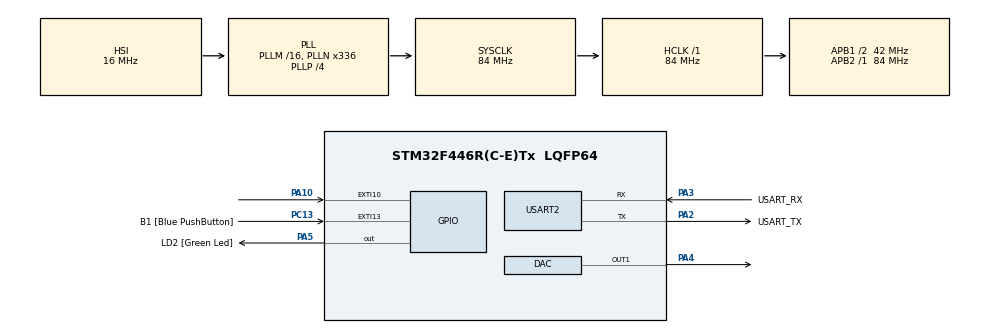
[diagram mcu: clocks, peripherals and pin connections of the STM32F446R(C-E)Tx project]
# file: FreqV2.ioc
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Mcu.Family=STM32F4
Mcu.Name=STM32F446R(C-E)Tx
Mcu.Package=LQFP64
NVIC.EXTI15_10_IRQn=true\:0\:0\:false\:false\:true\:true\:true
NVIC.PriorityGroup=NVIC_PRIORITYGROUP_0
NVIC.USART2_IRQn=true\:0\:0\:false\:false\:true\:true\:true
PA10.GPIO_ModeDefaultEXTI=GPIO_MODE_IT_FALLING
PA10.Signal=GPXTI10
PA13.GPIO_Label=TMS
PA13.Mode=Serial_Wire
PA13.Signal=SYS_JTMS-SWDIO
PA14.GPIO_Label=TCK
PA14.Mode=Serial_Wire
PA14.Signal=SYS_JTCK-SWCLK
PA2.GPIO_Label=USART_TX
PA2.Mode=Asynchronous
PA2.Signal=USART2_TX
PA3.GPIO_Label=USART_RX
PA3.Mode=Asynchronous
PA3.Signal=USART2_RX
PA4.Signal=COMP_DAC1_group
PA5.GPIO_Label=LD2 [Green Led]
PA5.Signal=GPIO_Output
PB3.GPIO_Label=SWO
PB3.Signal=SYS_JTDO-SWO
PC13.GPIO_Label=B1 [Blue PushButton]
PC13.GPIO_ModeDefaultEXTI=GPIO_MODE_IT_FALLING
PC13.Signal=GPXTI13
PC14-OSC32_IN.Mode=LSE-External-Oscillator
PC14-OSC32_IN.Signal=RCC_OSC32_IN
PC15-OSC32_OUT.Mode=LSE-External-Oscillator
PC15-OSC32_OUT.Signal=RCC_OSC32_OUT
PH0-OSC_IN.Mode=HSE-External-Oscillator
PH0-OSC_IN.Signal=RCC_OSC_IN
PH1-OSC_OUT.Mode=HSE-External-Oscillator
PH1-OSC_OUT.Signal=RCC_OSC_OUT
ProjectManager.HeapSize=0x200
ProjectManager.StackSize=0x400
ProjectManager.TargetToolchain=STM32CubeIDE
RCC.48MHZClocksFreq_Value=84000000
RCC.AHBFreq_Value=84000000
RCC.APB1CLKDivider=RCC_HCLK_DIV2
RCC.APB1Freq_Value=42000000
RCC.APB1TimFreq_Value=84000000
RCC.APB2Freq_Value=84000000
RCC.APB2TimFreq_Value=84000000
RCC.CortexFreq_Value=84000000
RCC.FLatency-AdvancedSettings=FLASH_LATENCY_2
RCC.HCLKFreq_Value=84000000
RCC.HSE_VALUE=8000000
RCC.HSI_VALUE=16000000
RCC.PLLN=336
RCC.PLLP=RCC_PLLP_DIV4
RCC.SYSCLKFreq_VALUE=84000000
RCC.SYSCLKSource=RCC_SYSCLKSOURCE_PLLCLK
RCC.USBFreq_Value=168000000
RCC.VCOOutputFreq_Value=336000000
SH.COMP_DAC1_group.0=DAC_OUT1,DAC_OUT1
USART2.VirtualMode=VM_ASYNC
board=NUCLEO-F446RE

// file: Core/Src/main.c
/* USER CODE BEGIN Header */
/**
  ******************************************************************************
  * @file           : main.c
  * @brief          : Main program body
  ******************************************************************************
  * @attention
  *
  * <h2><center>&copy; Copyright (c) 2020 STMicroelectronics.
  * All rights reserved.</center></h2>
  *
  * This software component is licensed by ST under BSD 3-Clause license,
  * the "License"; You may not use this file except in compliance with the
  * License. You may obtain a copy of the License at:
  *                        opensource.org/licenses/BSD-3-Clause
  *
  ******************************************************************************
  */
/* USER CODE END Header */

#include "main.h"

/* USER CODE BEGIN Includes */
#include "arm_math.h"
#include "arm_common_tables.h"

/* USER CODE END Includes */

/* USER CODE BEGIN PD */
#define Ts 1/20000
/* USER CODE END PD */

DAC_HandleTypeDef hdac;

UART_HandleTypeDef huart2;

/* USER CODE BEGIN PV */
uint8_t START_FRAME = 0xAA;
float32_t PI_2 = 2 * PI;
uint32_t freq = 2000;
uint32_t calcFreq = 0;
uint32_t fallCntr = 0;
float32_t phase = 0;

uint8_t rxBuffer[4];
uint8_t *p = rxBuffer;
uint8_t count = 0;

uint16_t sendFreq;
 uint8_t txBuff[3];
 uint8_t* tx = txBuff;

TIM_HandleTypeDef tim;
TIM_HandleTypeDef dac_tim;
/* USER CODE END PV */

void SystemClock_Config(void);
static void MX_GPIO_Init(void);
static void MX_USART2_UART_Init(void);
static void MX_DAC_Init(void);
/* USER CODE BEGIN PFP */
static void TimerInit(void);
static void DAC_Tim(void);
uint8_t gencrc(uint8_t *data, size_t len);
/* USER CODE END PFP */

/* USER CODE BEGIN 0 */
void HAL_UART_RxCpltCallback(UART_HandleTypeDef *huart){
	if(huart->Instance == USART2){
		if(rxBuffer[count++] == START_FRAME){
			rxBuffer[0] = START_FRAME;
			count = 1;
		}
		if(count > 3){
			count = 0;
			if(rxBuffer[3] == gencrc(p, 3)){
				uint16_t f = 0;
				f |= rxBuffer[1];
				f |= rxBuffer[2] << 8;
				if(f > 9999){
					f = 9999;
				}
				freq = f;
				tim.Instance->CNT = 0;
				fallCntr = 0;
			}
		}
		HAL_UART_Receive_IT(&huart2, (p+count), 1);
	}
}
/* USER CODE END 0 */

int main(void)
{

  /* MCU Configuration--------------------------------------------------------*/

  /* Reset of all peripherals, Initializes the Flash interface and the Systick. */
  HAL_Init();

  /* Configure the system clock */
  SystemClock_Config();

  /* Initialize all configured peripherals */
  MX_GPIO_Init();
  MX_USART2_UART_Init();
  MX_DAC_Init();
  /* USER CODE BEGIN 2 */
  DAC_Tim();
  TimerInit();
  HAL_DAC_Start(&hdac, DAC_CHANNEL_1);
  /* USER CODE END 2 */

  /* Infinite loop */
  /* USER CODE BEGIN WHILE */

  while (1)
  {
	sendFreq = calcFreq; // local copy
	if(sendFreq > 9999){
		sendFreq = 9999;
	}
	// SEG 1
	uint8_t thouse = sendFreq / 1000;
	txBuff[0] = START_FRAME;
	txBuff[1] = thouse | 0x80;
	txBuff[2] = gencrc(tx, 2);
	HAL_UART_Transmit(&huart2, tx, 3, 1000);
	// SEG 2
	sendFreq -= thouse * 1000;
	uint8_t hundr = sendFreq / 100;
	txBuff[1] = hundr | 0x40;
	txBuff[2] = gencrc(tx, 2);
	HAL_UART_Transmit(&huart2, tx, 3, 1000);
	sendFreq -= hundr * 100;
	// SEG 3
	uint8_t ten = sendFreq / 10;
	txBuff[1] = ten | 0x20;
	txBuff[2] = gencrc(tx, 2);
	HAL_UART_Transmit(&huart2, tx, 3, 1000);
	sendFreq -= ten * 10;
	// SEG 4
	txBuff[1] = sendFreq | 0x10;
	txBuff[2] = gencrc(tx, 2);
	HAL_UART_Transmit(&huart2, tx, 3, 1000);
    /* USER CODE END WHILE */

  }
}

void SystemClock_Config(void)
{
  RCC_OscInitTypeDef RCC_OscInitStruct = {0};
  RCC_ClkInitTypeDef RCC_ClkInitStruct = {0};

  /** Configure the main internal regulator output voltage
  */
  __HAL_RCC_PWR_CLK_ENABLE();
  __HAL_PWR_VOLTAGESCALING_CONFIG(PWR_REGULATOR_VOLTAGE_SCALE3);
  /** Initializes the CPU, AHB and APB busses clocks
  */
  RCC_OscInitStruct.OscillatorType = RCC_OSCILLATORTYPE_HSI;
  RCC_OscInitStruct.HSIState = RCC_HSI_ON;
  RCC_OscInitStruct.HSICalibrationValue = RCC_HSICALIBRATION_DEFAULT;
  RCC_OscInitStruct.PLL.PLLState = RCC_PLL_ON;
  RCC_OscInitStruct.PLL.PLLSource = RCC_PLLSOURCE_HSI;
  RCC_OscInitStruct.PLL.PLLM = 16;
  RCC_OscInitStruct.PLL.PLLN = 336;
  RCC_OscInitStruct.PLL.PLLP = RCC_PLLP_DIV4;
  RCC_OscInitStruct.PLL.PLLQ = 2;
  RCC_OscInitStruct.PLL.PLLR = 2;
  if (HAL_RCC_OscConfig(&RCC_OscInitStruct) != HAL_OK)
  {
    Error_Handler();
  }
  /** Initializes the CPU, AHB and APB busses clocks
  */
  RCC_ClkInitStruct.ClockType = RCC_CLOCKTYPE_HCLK|RCC_CLOCKTYPE_SYSCLK
                              |RCC_CLOCKTYPE_PCLK1|RCC_CLOCKTYPE_PCLK2;
  RCC_ClkInitStruct.SYSCLKSource = RCC_SYSCLKSOURCE_PLLCLK;
  RCC_ClkInitStruct.AHBCLKDivider = RCC_SYSCLK_DIV1;
  RCC_ClkInitStruct.APB1CLKDivider = RCC_HCLK_DIV2;
  RCC_ClkInitStruct.APB2CLKDivider = RCC_HCLK_DIV1;

  if (HAL_RCC_ClockConfig(&RCC_ClkInitStruct, FLASH_LATENCY_2) != HAL_OK)
  {
    Error_Handler();
  }
}

static void MX_DAC_Init(void)
{

  DAC_ChannelConfTypeDef sConfig = {0};

  /** DAC Initialization
  */
  hdac.Instance = DAC;
  if (HAL_DAC_Init(&hdac) != HAL_OK)
  {
    Error_Handler();
  }
  /** DAC channel OUT1 config
  */
  sConfig.DAC_Trigger = DAC_TRIGGER_NONE;
  sConfig.DAC_OutputBuffer = DAC_OUTPUTBUFFER_ENABLE;
  if (HAL_DAC_ConfigChannel(&hdac, &sConfig, DAC_CHANNEL_1) != HAL_OK)
  {
    Error_Handler();
  }

}

static void MX_USART2_UART_Init(void)
{

  huart2.Instance = USART2;
  huart2.Init.BaudRate = 115200;
  huart2.Init.WordLength = UART_WORDLENGTH_8B;
  huart2.Init.StopBits = UART_STOPBITS_1;
  huart2.Init.Parity = UART_PARITY_NONE;
  huart2.Init.Mode = UART_MODE_TX_RX;
  huart2.Init.HwFlowCtl = UART_HWCONTROL_NONE;
  huart2.Init.OverSampling = UART_OVERSAMPLING_16;
  if (HAL_UART_Init(&huart2) != HAL_OK)
  {
    Error_Handler();
  }
  /* USER CODE BEGIN USART2_Init 2 */

  HAL_UART_Receive_IT(&huart2, p, 1);
  /* USER CODE END USART2_Init 2 */

}

static void MX_GPIO_Init(void)
{
  GPIO_InitTypeDef GPIO_InitStruct = {0};

  /* GPIO Ports Clock Enable */
  __HAL_RCC_GPIOC_CLK_ENABLE();
  __HAL_RCC_GPIOH_CLK_ENABLE();
  __HAL_RCC_GPIOA_CLK_ENABLE();
  __HAL_RCC_GPIOB_CLK_ENABLE();

  /*Configure GPIO pin Output Level */
  HAL_GPIO_WritePin(LD2_GPIO_Port, LD2_Pin, GPIO_PIN_RESET);

  /*Configure GPIO pin : B1_Pin */
  GPIO_InitStruct.Pin = B1_Pin;
  GPIO_InitStruct.Mode = GPIO_MODE_IT_FALLING;
  GPIO_InitStruct.Pull = GPIO_NOPULL;
  HAL_GPIO_Init(B1_GPIO_Port, &GPIO_InitStruct);

  /*Configure GPIO pin : LD2_Pin */
  GPIO_InitStruct.Pin = LD2_Pin;
  GPIO_InitStruct.Mode = GPIO_MODE_OUTPUT_PP;
  GPIO_InitStruct.Pull = GPIO_NOPULL;
  GPIO_InitStruct.Speed = GPIO_SPEED_FREQ_LOW;
  HAL_GPIO_Init(LD2_GPIO_Port, &GPIO_InitStruct);

  /*Configure GPIO pin : PA10 */
  GPIO_InitStruct.Pin = GPIO_PIN_10;
  GPIO_InitStruct.Mode = GPIO_MODE_IT_FALLING;
  GPIO_InitStruct.Pull = GPIO_NOPULL;
  HAL_GPIO_Init(GPIOA, &GPIO_InitStruct);

  /* EXTI interrupt init*/
  HAL_NVIC_SetPriority(EXTI15_10_IRQn, 0, 0);
  HAL_NVIC_EnableIRQ(EXTI15_10_IRQn);

}

/* USER CODE BEGIN 4 */
static void DAC_Tim(){
	__TIM2_CLK_ENABLE(); //84Mhz - 10kHz 7,0x419 - 20kHz 0,0x1067
	dac_tim.Instance = TIM2;
	dac_tim.Init.ClockDivision = TIM_CLOCKDIVISION_DIV1;
	dac_tim.Init.CounterMode = TIM_COUNTERMODE_UP;
	dac_tim.Init.Prescaler = 0; // 0 + 1
	dac_tim.Init.Period = 0x1067; // 4199 + 1
	dac_tim.State = HAL_TIM_STATE_RESET;

	HAL_TIM_Base_Init(&dac_tim);

	HAL_NVIC_SetPriority(TIM2_IRQn, 0, 2);
	HAL_NVIC_EnableIRQ(TIM2_IRQn);

	HAL_TIM_Base_Start_IT(&dac_tim);
}
static void TimerInit(){
	__TIM4_CLK_ENABLE(); // 84Mhz - 1Hz 0xC7F,0x6689
	tim.Instance = TIM4;
	tim.Init.ClockDivision = TIM_CLOCKDIVISION_DIV1;
	tim.Init.CounterMode = TIM_COUNTERMODE_UP;
	tim.Init.Prescaler = 0xC7F; // 3199 + 1
	tim.Init.Period = 0x6689; // 26249 + 1
	tim.State = HAL_TIM_STATE_RESET;

	HAL_TIM_Base_Init(&tim);

	HAL_NVIC_SetPriority(TIM4_IRQn, 0, 3);
	HAL_NVIC_EnableIRQ(TIM4_IRQn);

	HAL_TIM_Base_Start_IT(&tim);
}

void HAL_TIM_PeriodElapsedCallback(TIM_HandleTypeDef * htim)
{
	if (htim->Instance == TIM4)
	{
		calcFreq = fallCntr;
		fallCntr = 0;
	}
	if (htim->Instance == TIM2)
	{
		phase += (float32_t)(PI_2 * (float32_t)freq * Ts);
		if(phase > PI_2){
			phase -= PI_2;
		}
		if(phase < PI){
			HAL_DAC_SetValue(&hdac, DAC_CHANNEL_1, DAC_ALIGN_12B_R, 0x00000000);
		}
		else{
			HAL_DAC_SetValue(&hdac, DAC_CHANNEL_1, DAC_ALIGN_12B_R, 0xFFFFFFFF);
		}
		//float32_t out_temp = 1 + 1 * arm_sin_f32(phase) + 1/3 * arm_sin_f32(phase * 3) + 1/5 * arm_sin_f32(phase * 5) + 1/7 * arm_sin_f32(phase * 7) + 1/9 * arm_sin_f32(phase * 9);
		//uint32_t out = (uint32_t)(out_temp * 4096);
		//HAL_DAC_SetValue(&hdac, DAC_CHANNEL_1, DAC_ALIGN_12B_R, out);
	}
}
void HAL_GPIO_EXTI_Callback(uint16_t gpio){
	if(gpio == GPIO_PIN_10){
		fallCntr++;
	}
}
uint8_t gencrc(uint8_t *data, size_t len)
{
    uint8_t crc = 0xff;
    size_t i, j;
    for (i = 0; i < len; i++) {
        crc ^= data[i];
        for (j = 0; j < 8; j++) {
            if ((crc & 0x80) != 0)
                crc = (uint8_t)((crc << 1) ^ 0x31);
            else
                crc <<= 1;
        }
    }
    if(crc == 0xAA)
    	crc ^= 0xFF;
    return crc;
}
/* USER CODE END 4 */

void Error_Handler(void)
{
}

/************************ (C) COPYRIGHT STMicroelectronics *****END OF FILE****/
